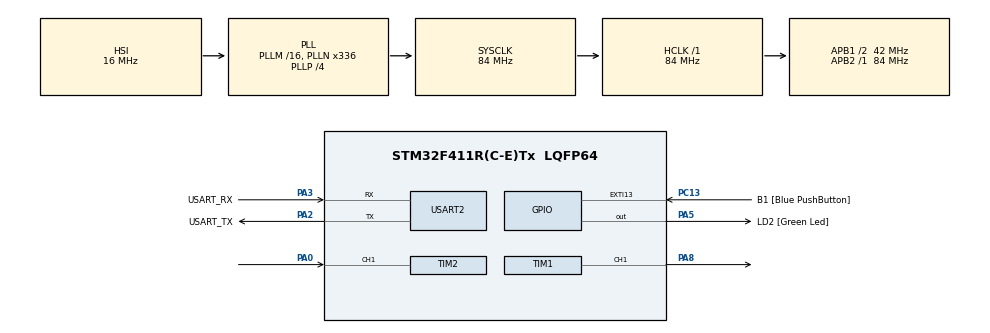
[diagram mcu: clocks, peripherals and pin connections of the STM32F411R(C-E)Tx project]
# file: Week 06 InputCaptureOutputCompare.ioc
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Dma.Request0=TIM2_CH1
Dma.Request1=TIM1_CH1
Dma.TIM1_CH1.1.Direction=DMA_PERIPH_TO_MEMORY
Dma.TIM1_CH1.1.FIFOMode=DMA_FIFOMODE_DISABLE
Dma.TIM1_CH1.1.Instance=DMA2_Stream1
Dma.TIM1_CH1.1.MemDataAlignment=DMA_MDATAALIGN_WORD
Dma.TIM1_CH1.1.MemInc=DMA_MINC_ENABLE
Dma.TIM1_CH1.1.Mode=DMA_CIRCULAR
Dma.TIM1_CH1.1.PeriphDataAlignment=DMA_PDATAALIGN_WORD
Dma.TIM1_CH1.1.PeriphInc=DMA_PINC_DISABLE
Dma.TIM1_CH1.1.Priority=DMA_PRIORITY_LOW
Dma.TIM2_CH1.0.Direction=DMA_PERIPH_TO_MEMORY
Dma.TIM2_CH1.0.FIFOMode=DMA_FIFOMODE_DISABLE
Dma.TIM2_CH1.0.Instance=DMA1_Stream5
Dma.TIM2_CH1.0.MemDataAlignment=DMA_MDATAALIGN_WORD
Dma.TIM2_CH1.0.MemInc=DMA_MINC_ENABLE
Dma.TIM2_CH1.0.Mode=DMA_CIRCULAR
Dma.TIM2_CH1.0.PeriphDataAlignment=DMA_PDATAALIGN_WORD
Dma.TIM2_CH1.0.PeriphInc=DMA_PINC_DISABLE
Dma.TIM2_CH1.0.Priority=DMA_PRIORITY_LOW
Mcu.Family=STM32F4
Mcu.Name=STM32F411R(C-E)Tx
Mcu.Package=LQFP64
NVIC.DMA1_Stream5_IRQn=true\:0\:0\:false\:false\:true\:false\:true\:true
NVIC.DMA2_Stream1_IRQn=true\:0\:0\:false\:false\:true\:false\:true\:true
NVIC.PriorityGroup=NVIC_PRIORITYGROUP_0
NVIC.TIM2_IRQn=true\:0\:0\:false\:false\:true\:true\:true\:true
PA0-WKUP.Signal=S_TIM2_CH1_ETR
PA13.GPIO_Label=TMS
PA13.Mode=Serial_Wire
PA13.Signal=SYS_JTMS-SWDIO
PA14.GPIO_Label=TCK
PA14.Mode=Serial_Wire
PA14.Signal=SYS_JTCK-SWCLK
PA2.GPIO_Label=USART_TX
PA2.Mode=Asynchronous
PA2.Signal=USART2_TX
PA3.GPIO_Label=USART_RX
PA3.Mode=Asynchronous
PA3.Signal=USART2_RX
PA5.GPIO_Label=LD2 [Green Led]
PA5.Signal=GPIO_Output
PA8.Signal=S_TIM1_CH1
PB3.GPIO_Label=SWO
PB3.Signal=SYS_JTDO-SWO
PC13-ANTI_TAMP.GPIO_Label=B1 [Blue PushButton]
PC13-ANTI_TAMP.GPIO_ModeDefaultEXTI=GPIO_MODE_IT_FALLING
PC13-ANTI_TAMP.Signal=GPXTI13
PC14-OSC32_IN.Mode=LSE-External-Oscillator
PC14-OSC32_IN.Signal=RCC_OSC32_IN
PC15-OSC32_OUT.Mode=LSE-External-Oscillator
PC15-OSC32_OUT.Signal=RCC_OSC32_OUT
PH0\ -\ OSC_IN.Mode=HSE-External-Clock-Source
PH0\ -\ OSC_IN.Signal=RCC_OSC_IN
PH1\ -\ OSC_OUT.Mode=HSE-External-Clock-Source
PH1\ -\ OSC_OUT.Signal=RCC_OSC_OUT
ProjectManager.HeapSize=0x200
ProjectManager.StackSize=0x400
ProjectManager.TargetToolchain=STM32CubeIDE
RCC.48MHZClocksFreq_Value=84000000
RCC.AHBFreq_Value=84000000
RCC.APB1CLKDivider=RCC_HCLK_DIV2
RCC.APB1Freq_Value=42000000
RCC.APB1TimFreq_Value=84000000
RCC.APB2Freq_Value=84000000
RCC.APB2TimFreq_Value=84000000
RCC.CortexFreq_Value=84000000
RCC.FLatency-AdvancedSettings=FLASH_LATENCY_2
RCC.HCLKFreq_Value=84000000
RCC.HSE_VALUE=8000000
RCC.HSI_VALUE=16000000
RCC.PLLN=336
RCC.PLLP=RCC_PLLP_DIV4
RCC.SYSCLKFreq_VALUE=84000000
RCC.SYSCLKSource=RCC_SYSCLKSOURCE_PLLCLK
RCC.VCOOutputFreq_Value=336000000
SH.S_TIM1_CH1.0=TIM1_CH1,PWM Generation1 CH1
SH.S_TIM2_CH1_ETR.0=TIM2_CH1,Input_Capture1_from_TI1
TIM1.Channel-PWM\ Generation1\ CH1=TIM_CHANNEL_1
TIM1.Period=999
TIM1.Prescaler=83
TIM1.Pulse-PWM\ Generation1\ CH1=500
TIM2.Channel-Input_Capture1_from_TI1=TIM_CHANNEL_1
TIM2.Prescaler=83
USART2.VirtualMode=VM_ASYNC
VP_TIM1_VS_ClockSourceINT.Mode=Internal
VP_TIM2_VS_ClockSourceINT.Mode=Internal
board=NUCLEO-F411RE

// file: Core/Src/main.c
/* USER CODE BEGIN Header */
/**
  ******************************************************************************
  * @file           : main.c
  * @brief          : Main program body
  ******************************************************************************
  * @attention
  *
  * Copyright (c) 2023 STMicroelectronics.
  * All rights reserved.
  *
  * This software is licensed under terms that can be found in the LICENSE file
  * in the root directory of this software component.
  * If no LICENSE file comes with this software, it is provided AS-IS.
  *
  ******************************************************************************
  */
/* USER CODE END Header */
#include "main.h"

/* USER CODE BEGIN Includes */
// เอกสิทธิ์ มาคำ
#define IC_BUFFER_SIZE 20
/* USER CODE END Includes */

TIM_HandleTypeDef htim1;
TIM_HandleTypeDef htim2;
DMA_HandleTypeDef hdma_tim1_ch1;
DMA_HandleTypeDef hdma_tim2_ch1;

UART_HandleTypeDef huart2;

/* USER CODE BEGIN PV */
uint32_t InputCaptureBuffer[IC_BUFFER_SIZE];
float averageRisingedgePeriod;
float duty = 50;
float MotorReadRPM;
float MotorSetDuty = 50;
uint32_t MotorSetRPM = 15;
uint32_t MotorControlEnabel = 0;
/* USER CODE END PV */

void SystemClock_Config(void);
static void MX_GPIO_Init(void);
static void MX_DMA_Init(void);
static void MX_USART2_UART_Init(void);
static void MX_TIM1_Init(void);
static void MX_TIM2_Init(void);
/* USER CODE BEGIN PFP */
float IC_Cale_Period();
float PI_Control();

/* USER CODE END PFP */

int main(void)
{

  /* MCU Configuration--------------------------------------------------------*/

  /* Reset of all peripherals, Initializes the Flash interface and the Systick. */
  HAL_Init();

  /* Configure the system clock */
  SystemClock_Config();

  /* Initialize all configured peripherals */
  MX_GPIO_Init();
  MX_DMA_Init();
  MX_USART2_UART_Init();
  MX_TIM1_Init();
  MX_TIM2_Init();
  /* USER CODE BEGIN 2 */
  HAL_TIM_Base_Start(&htim2);
  HAL_TIM_IC_Start_DMA(&htim2, TIM_CHANNEL_1, InputCaptureBuffer, IC_BUFFER_SIZE);

  HAL_TIM_Base_Start(&htim1);
  HAL_TIM_PWM_Start(&htim1, TIM_CHANNEL_1);
//  HAL_TIM_Base_Start(&htim1);
//  HAL_TIM_PWM_Start(&htim1, TIM_CHANNEL_1);
  /* USER CODE END 2 */

  /* Infinite loop */
  while (1)
  {

    /* USER CODE BEGIN 3 */

	  static uint32_t timestamp = 0;
		 	  if(HAL_GetTick()>= timestamp)
		 	  {
		 		  timestamp = HAL_GetTick()+500;
		 		  averageRisingedgePeriod = IC_Cale_Period();
		 		 MotorReadRPM = (60/(averageRisingedgePeriod*12*0.000001*64));
		 		 if(MotorControlEnabel == 0)
					  {
						  __HAL_TIM_SET_COMPARE(&htim1, TIM_CHANNEL_1,(duty*10));

						  duty = MotorSetDuty;
					  }
					  else if(MotorControlEnabel == 1){
						  if(MotorSetRPM > MotorReadRPM){
							  duty += 0.5;
						  }
						  else if(MotorSetRPM < MotorReadRPM)
						  {
							  duty -= 0.5;
						  }
						  if(duty >= 100)
						  {
							  duty = 100;
						  }
						  else if(duty <= 0)
						  {
							  duty = 0;
						  }
						 __HAL_TIM_SET_COMPARE(&htim1, TIM_CHANNEL_1,(duty*10));
					  }
				  }
	}

  /* USER CODE END 3 */
  }

void SystemClock_Config(void)
{
  RCC_OscInitTypeDef RCC_OscInitStruct = {0};
  RCC_ClkInitTypeDef RCC_ClkInitStruct = {0};

  /** Configure the main internal regulator output voltage
  */
  __HAL_RCC_PWR_CLK_ENABLE();
  __HAL_PWR_VOLTAGESCALING_CONFIG(PWR_REGULATOR_VOLTAGE_SCALE1);

  /** Initializes the RCC Oscillators according to the specified parameters
  * in the RCC_OscInitTypeDef structure.
  */
  RCC_OscInitStruct.OscillatorType = RCC_OSCILLATORTYPE_HSI;
  RCC_OscInitStruct.HSIState = RCC_HSI_ON;
  RCC_OscInitStruct.HSICalibrationValue = RCC_HSICALIBRATION_DEFAULT;
  RCC_OscInitStruct.PLL.PLLState = RCC_PLL_ON;
  RCC_OscInitStruct.PLL.PLLSource = RCC_PLLSOURCE_HSI;
  RCC_OscInitStruct.PLL.PLLM = 16;
  RCC_OscInitStruct.PLL.PLLN = 336;
  RCC_OscInitStruct.PLL.PLLP = RCC_PLLP_DIV4;
  RCC_OscInitStruct.PLL.PLLQ = 4;
  if (HAL_RCC_OscConfig(&RCC_OscInitStruct) != HAL_OK)
  {
    Error_Handler();
  }

  /** Initializes the CPU, AHB and APB buses clocks
  */
  RCC_ClkInitStruct.ClockType = RCC_CLOCKTYPE_HCLK|RCC_CLOCKTYPE_SYSCLK
                              |RCC_CLOCKTYPE_PCLK1|RCC_CLOCKTYPE_PCLK2;
  RCC_ClkInitStruct.SYSCLKSource = RCC_SYSCLKSOURCE_PLLCLK;
  RCC_ClkInitStruct.AHBCLKDivider = RCC_SYSCLK_DIV1;
  RCC_ClkInitStruct.APB1CLKDivider = RCC_HCLK_DIV2;
  RCC_ClkInitStruct.APB2CLKDivider = RCC_HCLK_DIV1;

  if (HAL_RCC_ClockConfig(&RCC_ClkInitStruct, FLASH_LATENCY_2) != HAL_OK)
  {
    Error_Handler();
  }
}

static void MX_TIM1_Init(void)
{

  TIM_ClockConfigTypeDef sClockSourceConfig = {0};
  TIM_MasterConfigTypeDef sMasterConfig = {0};
  TIM_OC_InitTypeDef sConfigOC = {0};
  TIM_BreakDeadTimeConfigTypeDef sBreakDeadTimeConfig = {0};

  htim1.Instance = TIM1;
  htim1.Init.Prescaler = 83;
  htim1.Init.CounterMode = TIM_COUNTERMODE_UP;
  htim1.Init.Period = 999;
  htim1.Init.ClockDivision = TIM_CLOCKDIVISION_DIV1;
  htim1.Init.RepetitionCounter = 0;
  htim1.Init.AutoReloadPreload = TIM_AUTORELOAD_PRELOAD_DISABLE;
  if (HAL_TIM_Base_Init(&htim1) != HAL_OK)
  {
    Error_Handler();
  }
  sClockSourceConfig.ClockSource = TIM_CLOCKSOURCE_INTERNAL;
  if (HAL_TIM_ConfigClockSource(&htim1, &sClockSourceConfig) != HAL_OK)
  {
    Error_Handler();
  }
  if (HAL_TIM_PWM_Init(&htim1) != HAL_OK)
  {
    Error_Handler();
  }
  sMasterConfig.MasterOutputTrigger = TIM_TRGO_RESET;
  sMasterConfig.MasterSlaveMode = TIM_MASTERSLAVEMODE_DISABLE;
  if (HAL_TIMEx_MasterConfigSynchronization(&htim1, &sMasterConfig) != HAL_OK)
  {
    Error_Handler();
  }
  sConfigOC.OCMode = TIM_OCMODE_PWM1;
  sConfigOC.Pulse = 500;
  sConfigOC.OCPolarity = TIM_OCPOLARITY_HIGH;
  sConfigOC.OCNPolarity = TIM_OCNPOLARITY_HIGH;
  sConfigOC.OCFastMode = TIM_OCFAST_DISABLE;
  sConfigOC.OCIdleState = TIM_OCIDLESTATE_RESET;
  sConfigOC.OCNIdleState = TIM_OCNIDLESTATE_RESET;
  if (HAL_TIM_PWM_ConfigChannel(&htim1, &sConfigOC, TIM_CHANNEL_1) != HAL_OK)
  {
    Error_Handler();
  }
  sBreakDeadTimeConfig.OffStateRunMode = TIM_OSSR_DISABLE;
  sBreakDeadTimeConfig.OffStateIDLEMode = TIM_OSSI_DISABLE;
  sBreakDeadTimeConfig.LockLevel = TIM_LOCKLEVEL_OFF;
  sBreakDeadTimeConfig.DeadTime = 0;
  sBreakDeadTimeConfig.BreakState = TIM_BREAK_DISABLE;
  sBreakDeadTimeConfig.BreakPolarity = TIM_BREAKPOLARITY_HIGH;
  sBreakDeadTimeConfig.AutomaticOutput = TIM_AUTOMATICOUTPUT_DISABLE;
  if (HAL_TIMEx_ConfigBreakDeadTime(&htim1, &sBreakDeadTimeConfig) != HAL_OK)
  {
    Error_Handler();
  }
  HAL_TIM_MspPostInit(&htim1);

}

static void MX_TIM2_Init(void)
{

  TIM_ClockConfigTypeDef sClockSourceConfig = {0};
  TIM_MasterConfigTypeDef sMasterConfig = {0};
  TIM_IC_InitTypeDef sConfigIC = {0};

  htim2.Instance = TIM2;
  htim2.Init.Prescaler = 83;
  htim2.Init.CounterMode = TIM_COUNTERMODE_UP;
  htim2.Init.Period = 4294967295;
  htim2.Init.ClockDivision = TIM_CLOCKDIVISION_DIV1;
  htim2.Init.AutoReloadPreload = TIM_AUTORELOAD_PRELOAD_DISABLE;
  if (HAL_TIM_Base_Init(&htim2) != HAL_OK)
  {
    Error_Handler();
  }
  sClockSourceConfig.ClockSource = TIM_CLOCKSOURCE_INTERNAL;
  if (HAL_TIM_ConfigClockSource(&htim2, &sClockSourceConfig) != HAL_OK)
  {
    Error_Handler();
  }
  if (HAL_TIM_IC_Init(&htim2) != HAL_OK)
  {
    Error_Handler();
  }
  sMasterConfig.MasterOutputTrigger = TIM_TRGO_RESET;
  sMasterConfig.MasterSlaveMode = TIM_MASTERSLAVEMODE_DISABLE;
  if (HAL_TIMEx_MasterConfigSynchronization(&htim2, &sMasterConfig) != HAL_OK)
  {
    Error_Handler();
  }
  sConfigIC.ICPolarity = TIM_INPUTCHANNELPOLARITY_RISING;
  sConfigIC.ICSelection = TIM_ICSELECTION_DIRECTTI;
  sConfigIC.ICPrescaler = TIM_ICPSC_DIV1;
  sConfigIC.ICFilter = 0;
  if (HAL_TIM_IC_ConfigChannel(&htim2, &sConfigIC, TIM_CHANNEL_1) != HAL_OK)
  {
    Error_Handler();
  }

}

static void MX_USART2_UART_Init(void)
{

  huart2.Instance = USART2;
  huart2.Init.BaudRate = 115200;
  huart2.Init.WordLength = UART_WORDLENGTH_8B;
  huart2.Init.StopBits = UART_STOPBITS_1;
  huart2.Init.Parity = UART_PARITY_NONE;
  huart2.Init.Mode = UART_MODE_TX_RX;
  huart2.Init.HwFlowCtl = UART_HWCONTROL_NONE;
  huart2.Init.OverSampling = UART_OVERSAMPLING_16;
  if (HAL_UART_Init(&huart2) != HAL_OK)
  {
    Error_Handler();
  }

}

static void MX_DMA_Init(void)
{

  /* DMA controller clock enable */
  __HAL_RCC_DMA1_CLK_ENABLE();
  __HAL_RCC_DMA2_CLK_ENABLE();

  /* DMA interrupt init */
  /* DMA1_Stream5_IRQn interrupt configuration */
  HAL_NVIC_SetPriority(DMA1_Stream5_IRQn, 0, 0);
  HAL_NVIC_EnableIRQ(DMA1_Stream5_IRQn);
  /* DMA2_Stream1_IRQn interrupt configuration */
  HAL_NVIC_SetPriority(DMA2_Stream1_IRQn, 0, 0);
  HAL_NVIC_EnableIRQ(DMA2_Stream1_IRQn);

}

static void MX_GPIO_Init(void)
{
  GPIO_InitTypeDef GPIO_InitStruct = {0};

  /* GPIO Ports Clock Enable */
  __HAL_RCC_GPIOC_CLK_ENABLE();
  __HAL_RCC_GPIOH_CLK_ENABLE();
  __HAL_RCC_GPIOA_CLK_ENABLE();
  __HAL_RCC_GPIOB_CLK_ENABLE();

  /*Configure GPIO pin Output Level */
  HAL_GPIO_WritePin(LD2_GPIO_Port, LD2_Pin, GPIO_PIN_RESET);

  /*Configure GPIO pin : B1_Pin */
  GPIO_InitStruct.Pin = B1_Pin;
  GPIO_InitStruct.Mode = GPIO_MODE_IT_FALLING;
  GPIO_InitStruct.Pull = GPIO_NOPULL;
  HAL_GPIO_Init(B1_GPIO_Port, &GPIO_InitStruct);

  /*Configure GPIO pin : LD2_Pin */
  GPIO_InitStruct.Pin = LD2_Pin;
  GPIO_InitStruct.Mode = GPIO_MODE_OUTPUT_PP;
  GPIO_InitStruct.Pull = GPIO_NOPULL;
  GPIO_InitStruct.Speed = GPIO_SPEED_FREQ_LOW;
  HAL_GPIO_Init(LD2_GPIO_Port, &GPIO_InitStruct);

}

/* USER CODE BEGIN 4 */

float IC_Cale_Period()
{
	uint32_t currentDMAPointter = IC_BUFFER_SIZE - __HAL_DMA_GET_COUNTER(htim2.hdma[1]);
	uint32_t lastVaildDMAPointer = (currentDMAPointter-1 + IC_BUFFER_SIZE) % IC_BUFFER_SIZE;
	uint32_t i = (lastVaildDMAPointer + IC_BUFFER_SIZE - 5) %IC_BUFFER_SIZE;

	int32_t sumdiff = 0;
	while(i != lastVaildDMAPointer)
	{
		uint32_t firstCapture = InputCaptureBuffer[i];
		uint32_t NextCapture = InputCaptureBuffer[(i+1)%IC_BUFFER_SIZE];
		sumdiff += NextCapture-firstCapture;
		i = (i+1) % IC_BUFFER_SIZE;
	}
	return sumdiff / 5.0;
}

/* USER CODE END 4 */

void Error_Handler(void)
{
  __disable_irq();
  while (1)
  {
  }
}
